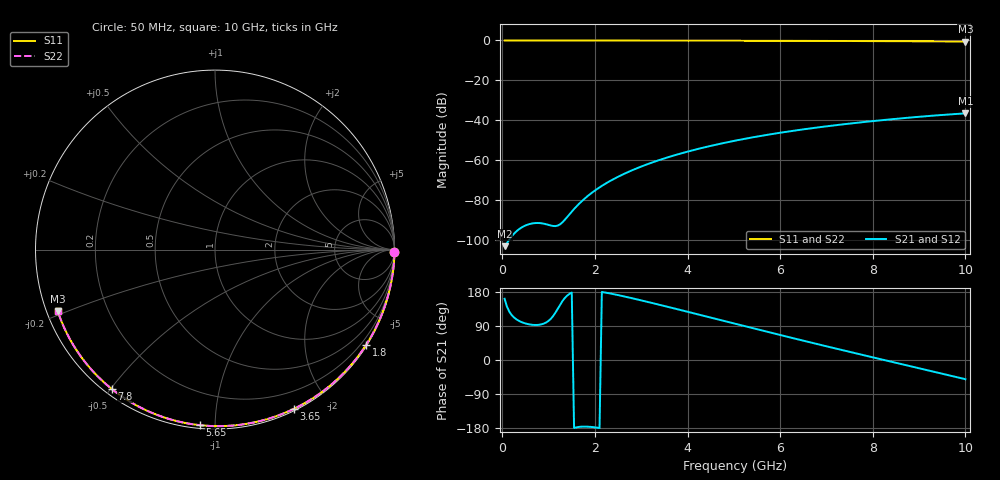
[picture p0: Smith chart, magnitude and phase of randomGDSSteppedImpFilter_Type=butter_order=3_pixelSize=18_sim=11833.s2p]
! freq	dB(S11)	phase(S11)	dB(S12)	phase(S12)
!  dB(S21)	phase(S21)	dB(S22)	phase(S22)
!S-par simulation data
#  GHz  S  DB  R 50
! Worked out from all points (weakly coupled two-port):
!   200 points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, 50 MHz to 10 GHz, reference 50 ohm
!   highest |S21| = -36.61 dB at 10 GHz (marker M1); lowest = -103.3 dB at 50 MHz (marker M2)
!   lowest |S11| = -0.5 dB at 10 GHz (marker M3), VSWR 32.94, Z = 1.57 - j9.39 ohm
!   |S11| at or under -10 dB: nowhere
!   |S22| runs from -0.5 to 0.0 dB; largest |S21 - S12| = 0
!   S11 on the Smith chart (normalised r, x): 50 MHz: open; 1.8 GHz: 0.03, -3.47; 3.65 GHz: 0.02, -1.61; 5.65 GHz: 0.02, -0.92; 7.8 GHz: 0.02, -0.50; 10 GHz: 0.03, -0.19
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0.05  -0.00 -0.9  -103.25 161.5  -103.25 161.5  -0.00 -0.9
0.45  -0.01 -8.2  -93.42 98.4  -93.42 98.4  -0.01 -8.2
0.9  -0.02 -16.3  -91.98 96.2  -91.98 96.2  -0.02 -16.2
1.3  -0.03 -23.4  -91.25 155.6  -91.25 155.6  -0.03 -23.4
1.75  -0.04 -31.3  -79.96 -175.8  -79.96 -175.8  -0.04 -31.3
1.8  -0.04 -32.2  -78.94 -175.8  -78.94 -175.8  -0.04 -32.2
1.95  -0.04 -34.8  -76.17 -177.0  -76.17 -177.0  -0.04 -34.8
2.1  -0.05 -37.4  -73.74 -179.5  -73.74 -179.5  -0.05 -37.4
2.45  -0.06 -43.4  -69.01 172.6  -69.01 172.6  -0.06 -43.4
2.9  -0.07 -51.1  -64.21 160.2  -64.21 160.2  -0.07 -51.1
3.4  -0.08 -59.4  -59.95 145.5  -59.95 145.5  -0.08 -59.4
3.65  -0.09 -63.5  -58.12 138.0  -58.12 138.0  -0.09 -63.5
4.3  -0.11 -74.0  -54.02 118.1  -54.02 118.1  -0.11 -74.0
5.05  -0.13 -85.8  -50.19 95.1  -50.19 95.1  -0.13 -85.8
5.65  -0.16 -95.0  -47.64 76.7  -47.64 76.7  -0.16 -94.9
6.15  -0.18 -102.4  -45.79 61.5  -45.79 61.5  -0.18 -102.4
6.7  -0.22 -110.6  -43.99 45.0  -43.99 45.0  -0.22 -110.5
7.25  -0.25 -118.6  -42.39 28.8  -42.39 28.8  -0.25 -118.5
7.8  -0.30 -126.5  -40.96 12.8  -40.96 12.8  -0.30 -126.5
8.35  -0.35 -134.5  -39.67 -3.1  -39.67 -3.1  -0.35 -134.4
9.2  -0.43 -146.8  -37.92 -27.5  -37.92 -27.5  -0.43 -146.7
10  -0.53 -158.7  -36.61 -50.7  -36.61 -50.7  -0.53 -158.6
